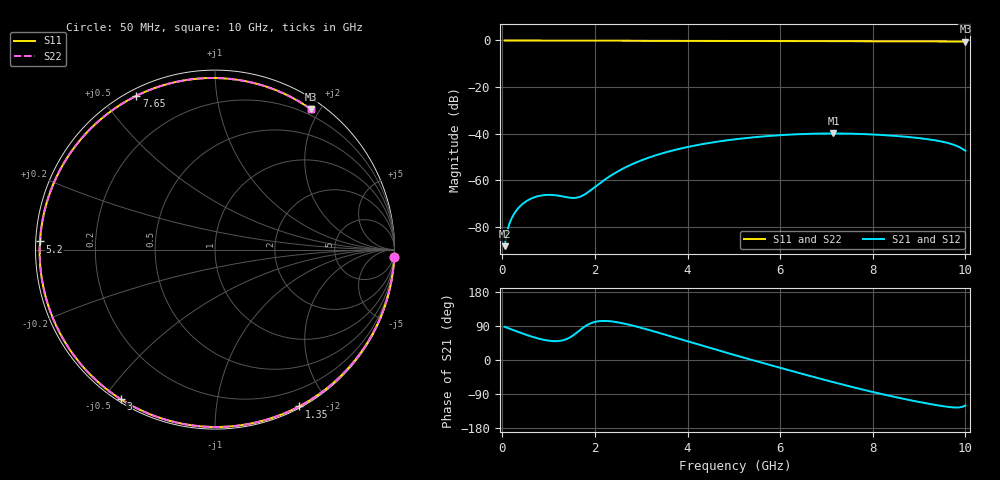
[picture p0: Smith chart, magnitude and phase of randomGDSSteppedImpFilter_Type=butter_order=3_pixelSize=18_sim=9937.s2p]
! freq	dB(S11)	phase(S11)	dB(S12)	phase(S12)
!  dB(S21)	phase(S21)	dB(S22)	phase(S22)
!S-par simulation data
#  GHz  S  DB  R 50
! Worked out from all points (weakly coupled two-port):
!   200 points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, 50 MHz to 10 GHz, reference 50 ohm
!   highest |S21| = -39.97 dB at 7.15 GHz (marker M1); lowest = -88.4 dB at 50 MHz (marker M2)
!   lowest |S11| = -0.5 dB at 10 GHz (marker M3), VSWR 37.01, Z = 6.22 + j94.7 ohm
!   |S11| at or under -10 dB: nowhere
!   |S22| runs from -0.5 to 0.0 dB; largest |S21 - S12| = 0
!   S11 on the Smith chart (normalised r, x): 50 MHz: 0, -47; 1.35 GHz: 0.02, -1.67; 3 GHz: 0.01, -0.55; 5.2 GHz: 0.01, +0.02; 7.65 GHz: 0.03, +0.61; 10 GHz: 0.12, +1.89
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0.05  -0.00 -2.4  -88.39 87.6  -88.39 87.6  -0.00 -2.4
0.15  -0.01 -7.2  -78.93 82.9  -78.93 82.9  -0.01 -7.2
0.25  -0.02 -12.0  -74.64 78.3  -74.64 78.3  -0.02 -12.0
0.35  -0.02 -16.7  -71.94 73.7  -71.94 73.7  -0.02 -16.7
0.6  -0.04 -28.4  -68.16 63.1  -68.16 63.1  -0.04 -28.4
0.95  -0.06 -44.4  -66.38 51.9  -66.38 51.9  -0.06 -44.4
1.35  -0.07 -61.8  -67.21 53.5  -67.21 53.5  -0.07 -61.8
1.55  -0.08 -70.1  -67.67 66.7  -67.67 66.7  -0.08 -70.1
1.75  -0.09 -78.1  -66.49 85.7  -66.49 85.7  -0.09 -78.1
2.4  -0.11 -102.2  -57.37 101.2  -57.37 101.2  -0.11 -102.2
3  -0.13 -122.1  -51.54 84.9  -51.54 84.9  -0.13 -122.1
3.4  -0.14 -134.3  -48.81 71.0  -48.81 71.0  -0.14 -134.3
4.2  -0.17 -156.9  -44.99 42.0  -44.99 42.0  -0.17 -156.8
5.05  -0.20 -178.9  -42.42 11.9  -42.42 11.9  -0.20 -178.9
5.2  -0.21 177.3  -42.08 6.7  -42.08 6.7  -0.21 177.4
5.95  -0.24 158.9  -40.76 -18.9  -40.76 -18.9  -0.24 158.9
6.7  -0.28 140.6  -40.07 -44.0  -40.07 -44.0  -0.28 140.6
7.15  -0.31 129.5  -39.97 -58.6  -39.97 -58.6  -0.31 129.6
7.65  -0.33 117.1  -40.13 -74.1  -40.13 -74.1  -0.33 117.1
8.35  -0.37 99.3  -40.81 -94.2  -40.81 -94.2  -0.37 99.3
9.45  -0.43 70.3  -43.29 -120.6  -43.29 -120.6  -0.43 70.4
10  -0.47 55.5  -47.36 -120.0  -47.36 -120.0  -0.47 55.5
